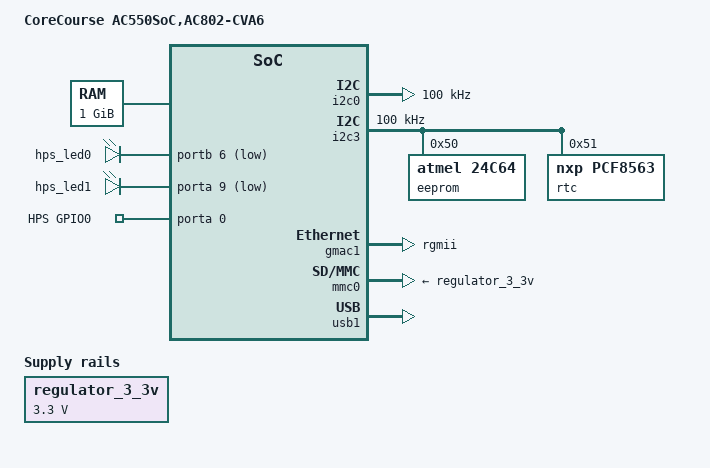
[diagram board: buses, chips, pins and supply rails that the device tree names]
// SPDX-License-Identifier: GPL-2.0+
/*
 * Copyright (C) 2025, Brian Sune
 *
 * based on socfpga_cyclone5_socdk.dts
 */

#include "socfpga_cyclone5.dtsi"

/ {
	model = "CoreCourse AC550SoC,AC802-CVA6";
	compatible = "altr,socfpga-cyclone5", "altr,socfpga";

	chosen {
		bootargs = "earlyprintk";
		stdout-path = "serial0:115200n8";
	};

	aliases {
		ethernet0 = &gmac1;
		udc0 = &usb1;
	};

	memory@0 {
		name = "memory";
		device_type = "memory";
		reg = <0x0 0x40000000>; /* 1GB */
	};

	leds {
		compatible = "gpio-leds";
		hps0 {
			label = "hps_led0";
			gpios = <&portb 6 1>;
		};

		hps1 {
			label = "hps_led1";
			gpios = <&porta 9 1>;
		};
	};

	buttons {
		compatible = "gpio-keys";
		hps0 {
			label = "HPS GPIO0";
			gpios = <&porta 0 0>;
		};
	};

	regulator_3_3v: 3-3-v-regulator {
		compatible = "regulator-fixed";
		regulator-name = "3.3V";
		regulator-min-microvolt = <3300000>;
		regulator-max-microvolt = <3300000>;
	};
};

&i2c0 {
	status = "okay";
	clock-frequency = <100000>;
};

&i2c3 {
	status = "okay";
	clock-frequency = <100000>;

	i2c-sda-falling-time-ns = <5000>;
	i2c-scl-falling-time-ns = <5000>;

	eeprom@50 {
		compatible = "atmel,24c64";
		reg = <0x50>;
		pagesize = <32>;
	};

	rtc@51 {
		compatible = "nxp,pcf8563";
		reg = <0x51>;
		#clock-cells = <0>;
	};
};

&gmac1 {
	status = "okay";
	phy-mode = "rgmii";

	rxd0-skew-ps = <420>;
	rxd1-skew-ps = <420>;
	rxd2-skew-ps = <420>;
	rxd3-skew-ps = <420>;
	txen-skew-ps = <0>;
	txc-skew-ps = <1860>;
	rxdv-skew-ps = <420>;
	rxc-skew-ps = <1680>;
};

&gpio0 {
	status = "okay";
};

&gpio1 {
	status = "okay";
};

&gpio2 {
	status = "okay";
};

&mmc0 {
	vmmc-supply = <&regulator_3_3v>;
	vqmmc-supply = <&regulator_3_3v>;
	status = "okay";
};

&usb1 {
	status = "okay";
};
